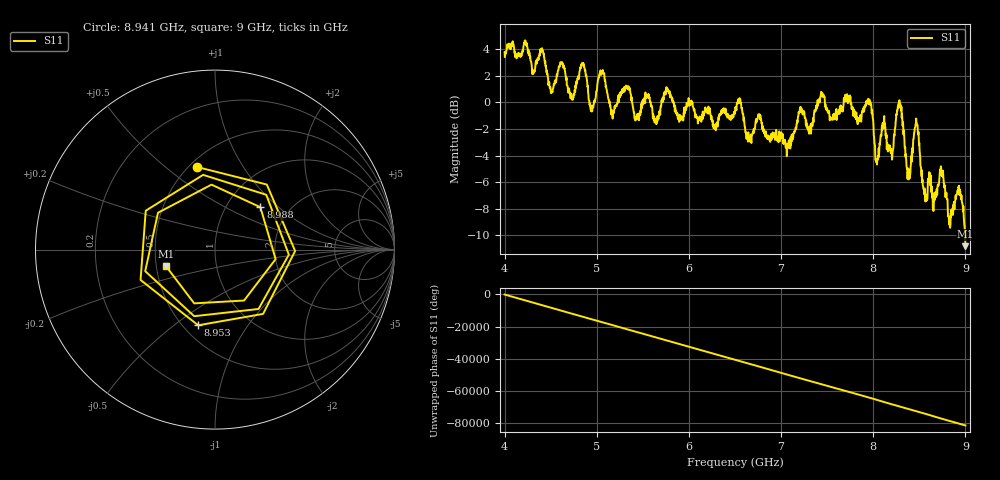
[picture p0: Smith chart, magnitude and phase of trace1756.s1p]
! Created with skrf 1.8.0 (http://scikit-rf.org).
# Hz S RI R 50.0
!freq ReS11 ImS11
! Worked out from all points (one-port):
!   1601 points, 4 GHz to 9 GHz, reference 50 ohm
!   lowest |S11| = -10.8 dB at 9 GHz (marker M1), VSWR 1.81, Z = 28.2 - j5.72 ohm
!   |S11| at or under -10 dB: 8.997422 GHz to end of sweep
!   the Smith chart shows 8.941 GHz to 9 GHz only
!   S11 on the Smith chart (normalised r, x): 8.941 GHz: 0.55, +0.65; 8.953 GHz: 0.59, -0.61; 8.988 GHz: 1.43, +0.77; 9 GHz: 0.56, -0.11
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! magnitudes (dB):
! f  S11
! 4 GHz  3.8
! 4.406 GHz  4.1
! 4.512 GHz  0.8
! 4.625 GHz  2.9
! 4.731 GHz  0.2
! 4.853 GHz  2.8
! 4.944 GHz  -0.7
! 5.053 GHz  2.3
! 5.166 GHz  -0.6
! 5.25 GHz  0.5
! 5.875 GHz  -0.8
! 6.5 GHz  -0.8
! 7.125 GHz  -2.8
! 7.447 GHz  0.7
! 7.75 GHz  0.4
! 7.966 GHz  -0.1
! 8.041 GHz  -4.7
! 8.106 GHz  -1.9
! 8.197 GHz  -3.6
! 8.288 GHz  -0.2
! 8.375 GHz  -5.2
! 8.466 GHz  -1.2
! 8.562 GHz  -6.8
! 8.834 GHz  -9.4
! 8.941 GHz  -6.6
! 8.953 GHz  -7.3
! 8.988 GHz  -9.2
! 9 GHz  -10.8
